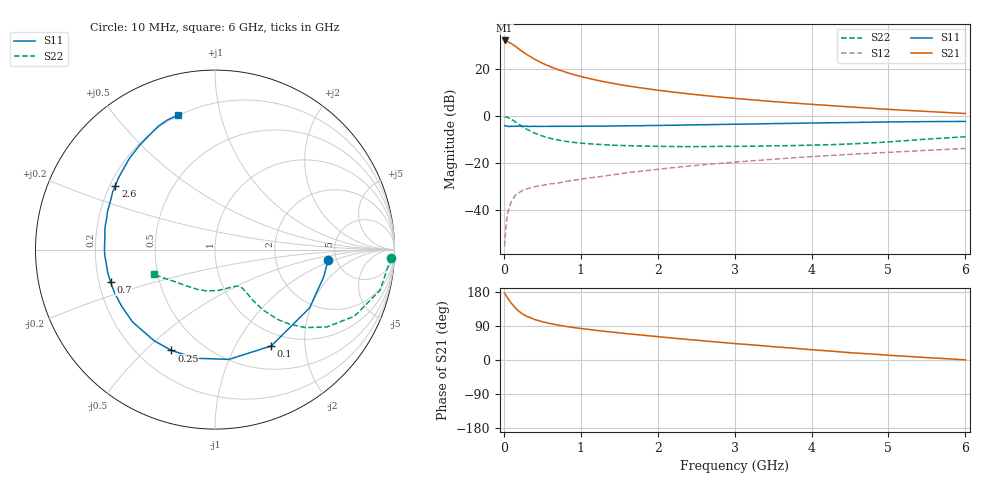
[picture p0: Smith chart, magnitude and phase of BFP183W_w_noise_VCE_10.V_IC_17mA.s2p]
! Infineon Technologies  Discrete & RF Semiconductors
! BFP183W
! VCE =  10. V,  IC =  17 mA
! Common Emitter S-Parameters:  Jan 2017
# GHz  S  MA  R  50
!  f  S11  S21  S12  S22
! GHz  MAG  ANG  MAG  ANG  MAG  ANG  MAG  ANG
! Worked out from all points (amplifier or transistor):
!   77 points, 10 MHz to 6 GHz, reference 50 ohm
!   highest |S21| = 32.3 dB at 10 MHz (marker M1)
!   |S21| within 3 dB of that: start of sweep to 170.2 MHz
!   unconditionally stable (mu >= 1): 1.293 GHz to 3.685 GHz
!   at 130 MHz: K = 0.20, MSG = 32.5 dB, |S12| = -34.7 dB
!   at 2.2 GHz: K = 1.06, MAG = 14.6 dB, |S12| = -21.9 dB
!   at 6 GHz: K = 0.86, MSG = 7.5 dB, |S12| = -13.7 dB
!   lowest NFmin = 1.12 dB at 450 MHz
!   S11 on the Smith chart (normalised r, x): 10 MHz: 4.26, -0.84; 100 MHz: 0.81, -1.41; 250 MHz: 0.34, -0.60; 700 MHz: 0.25, -0.14; 2.6 GHz: 0.22, +0.28; 6 GHz: 0.20, +0.74
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0.01  0.6322 -5.4  41.29 176.6  0.0017 83.2  0.9829 -2.7
0.02  0.6248 -13.9  40.61 172.7  0.0029 98.1  0.9685 -5.5
0.05  0.6191 -31.7  39.08 163.4  0.0087 75.7  0.9477 -13.8
0.1  0.6215 -59.7  35.34 148.9  0.0153 66.8  0.8607 -25.6
0.15  0.6165 -82.7  30.96 137.2  0.0207 57.3  0.7586 -34.6
0.2  0.6146 -99.8  26.84 127.9  0.0236 52.6  0.6668 -40.7
0.25  0.6122 -113.4  23.43 120.6  0.0266 47.1  0.5896 -44.9
0.3  0.6105 -123.8  20.56 115.1  0.0283 46.7  0.5263 -47.9
0.4  0.6114 -138.7  16.42 106.8  0.0316 43.7  0.4374 -51.2
0.5  0.6082 -148.9  13.5 100.9  0.0336 43.9  0.3791 -52.7
0.6  0.6092 -156.8  11.47 96.2  0.0362 44.9  0.3397 -53.5
0.7  0.6095 -162.6  9.913 92.4  0.0374 45.8  0.3114 -53.6
0.9  0.6105 -172.0  7.792 85.9  0.043 48.4  0.2785 -54.2
1.1  0.616 -179.1  6.435 80.8  0.048 50.7  0.2596 -55.0
1.3  0.6164 174.8  5.456 76.0  0.0529 52.2  0.2475 -56.5
1.5  0.6235 169.9  4.752 71.7  0.0589 53.9  0.239 -58.6
2.1  0.6401 156.5  3.435 59.7  0.077 55.8  0.2273 -68.5
2.6  0.6595 147.3  2.774 50.4  0.0925 55.2  0.226 -79.7
3.1  0.679 138.9  2.332 41.9  0.1083 54.0  0.2289 -91.7
4.1  0.7205 124.5  1.751 25.7  0.1411 50.0  0.2442 -117.0
5.1  0.759 113.6  1.373 11.3  0.1735 44.8  0.2916 -143.0
6  0.7761 105.6  1.144 0.3  0.2057 39.2  0.3657 -157.9
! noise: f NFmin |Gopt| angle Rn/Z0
0.45  1.12  0.17  164  -0.02
0.9  1.15  0.23  169  0.09
1.9  1.61  0.4  -165  0.08
2.4  1.84  0.44  -159  0.11
